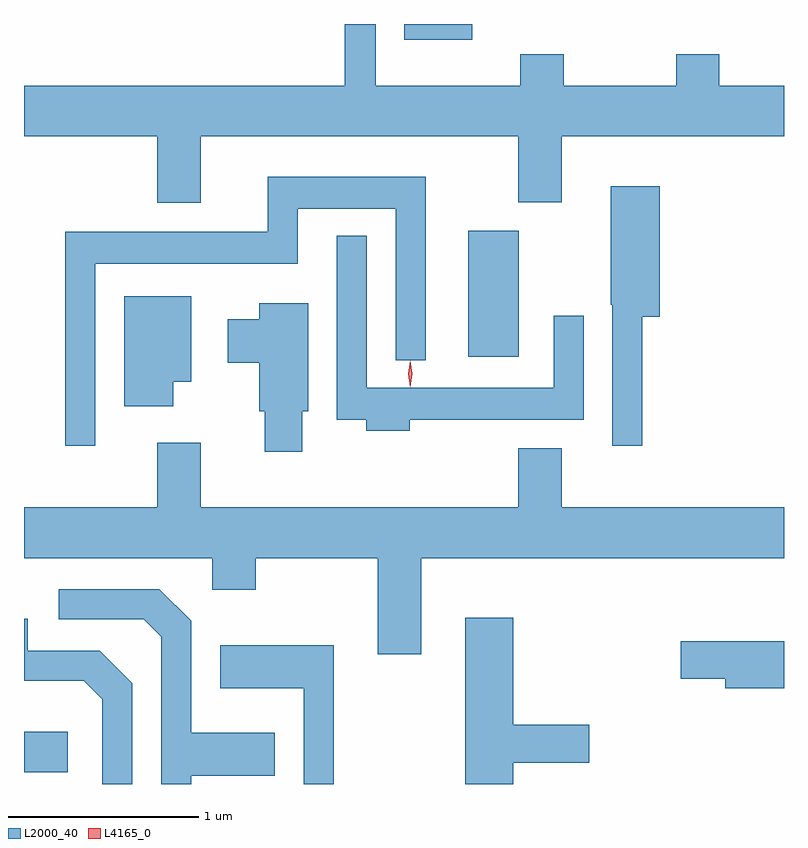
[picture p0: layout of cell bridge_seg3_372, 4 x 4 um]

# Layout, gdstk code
import gdstk
lib = gdstk.Library(unit=1e-6, precision=1e-09)
def R(c, l, rs):  # rectangles x0, y0, x1, y1
    for r in rs: c.add(gdstk.rectangle(r[:2], r[2:], *l))
def P(c, l, *ps):  # polygons
    for p in ps: c.add(gdstk.Polygon(p, *l))
L2000_40 = (2000, 40)
L4165_0 = (4165, 0)

bridge_seg3_372 = lib.new_cell('bridge_seg3_372')
R(bridge_seg3_372, L2000_40, [(578.596,1175.916,578.864,1176.579), (578.261,1177.586,578.618,1177.668)])
P(bridge_seg3_372, L2000_40, [(577.189,1177.076),(578.861,1177.076),(578.861,1176.731),(579.089,1176.731),(579.089,1177.076),(580.259,1177.076),(580.259,1177.344),(579.919,1177.344),(579.919,1177.509),(579.691,1177.509),(579.691,1177.344),(579.099,1177.344),(579.099,1177.509),(578.871,1177.509),(578.871,1177.344),(578.109,1177.344),(578.109,1177.668),(577.946,1177.668),(577.946,1177.344),(576.259,1177.344),(576.259,1177.076),(576.961,1177.076),(576.961,1176.726),(577.189,1176.726)],
  [(576.634,1176.406),(577.699,1176.406),(577.699,1176.696),(578.216,1176.696),(578.216,1175.898),(578.374,1175.898),(578.374,1176.864),(577.541,1176.864),(577.541,1176.574),(576.476,1176.574),(576.476,1175.448),(576.634,1175.448)],
  [(579.514,1176.126),(579.604,1176.126),(579.604,1176.814),(579.346,1176.814),(579.346,1176.19),(579.356,1176.19),(579.356,1175.448),(579.514,1175.448)],
  [(578.289,1175.586),(579.204,1175.586),(579.204,1176.133),(579.046,1176.133),(579.046,1175.754),(578.064,1175.754),(578.064,1176.553),(577.906,1176.553),(577.906,1175.586),(578.061,1175.586),(578.061,1175.526),(578.289,1175.526)],
  [(577.044,1175.786),(577.139,1175.786),(577.139,1176.234),(576.786,1176.234),(576.786,1175.656),(577.044,1175.656)],
  [(577.724,1175.631),(577.754,1175.631),(577.754,1176.199),(577.496,1176.199),(577.496,1176.114),(577.331,1176.114),(577.331,1175.886),(577.496,1175.886),(577.496,1175.631),(577.526,1175.631),(577.526,1175.416),(577.724,1175.416)],
  [(578.349,1174.856),(580.259,1174.856),(580.259,1175.124),(579.089,1175.124),(579.089,1175.434),(578.861,1175.434),(578.861,1175.124),(577.189,1175.124),(577.189,1175.464),(576.961,1175.464),(576.961,1175.124),(576.259,1175.124),(576.259,1174.856),(577.251,1174.856),(577.251,1174.691),(577.479,1174.691),(577.479,1174.856),(578.121,1174.856),(578.121,1174.351),(578.349,1174.351)],
  [(577.139,1173.711),(577.579,1173.711),(577.579,1173.939),(577.139,1173.939),(577.139,1174.527),(576.972,1174.694),(576.443,1174.694),(576.443,1174.536),(576.889,1174.536),(576.981,1174.444),(576.981,1173.668),(577.139,1173.668)],
  [(578.834,1173.781),(579.234,1173.781),(579.234,1173.979),(578.834,1173.979),(578.834,1174.544),(578.581,1174.544),(578.581,1173.668),(578.834,1173.668)],
  [(576.829,1174.197),(576.657,1174.369),(576.279,1174.369),(576.279,1174.539),(576.259,1174.539),(576.259,1174.211),(576.574,1174.211),(576.671,1174.114),(576.671,1173.668),(576.829,1173.668)],
  [(580.259,1174.419),(579.716,1174.419),(579.716,1174.221),(579.951,1174.221),(579.951,1174.171),(580.259,1174.171)],
  [(577.889,1174.399),(577.291,1174.399),(577.291,1174.171),(577.731,1174.171),(577.731,1173.668),(577.889,1173.668)],
  [(576.489,1173.944),(576.261,1173.944),(576.261,1173.889),(576.259,1173.889),(576.259,1173.731),(576.489,1173.731)])
P(bridge_seg3_372, L4165_0, [(578.292,1175.757),(578.292,1175.757),(578.282,1175.827),(578.292,1175.896),(578.292,1175.896),(578.293,1175.896),(578.302,1175.827),(578.293,1175.757)])

lib.write_gds('bridge_seg3_372.gds')
